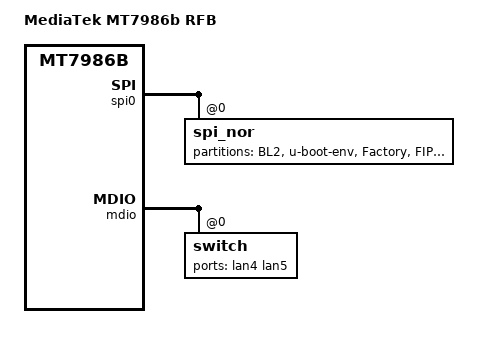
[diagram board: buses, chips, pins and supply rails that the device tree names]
/dts-v1/;
#include "mt7986b-rfb.dtsi"
/ {
	model = "MediaTek MT7986b RFB";
	compatible = "mediatek,mt7986b-nor-rfb";
};

&spi0 {
	status = "okay";
	spi_nor@0 {
		partitions {
			compatible = "fixed-partitions";
			#address-cells = <1>;
			#size-cells = <1>;

			partition@00000 {
				label = "BL2";
				reg = <0x00000 0x0040000>;
			};
			partition@40000 {
				label = "u-boot-env";
				reg = <0x40000 0x0010000>;
			};
			factory: partition@50000 {
				label = "Factory";
				reg = <0x50000 0x00B0000>;
			};
			partition@100000 {
				label = "FIP";
				reg = <0x100000 0x0080000>;
			};
			partition@180000 {
				label = "firmware";
				reg = <0x180000 0xE00000>;
			};
		};
	};
};

&snand {
	status = "disabled";
};

&mmc0 {
	status = "disabled";
};

&mdio {
	switch@0 {
		ports {
			port@4 {
				reg = <4>;
				label = "lan4";
			};

			port@5 {
				reg = <5>;
				label = "lan5";
				phy-mode = "2500base-x";

				fixed-link {
					speed = <2500>;
					full-duplex;
					pause;
				};
			};
		};
	};
};
